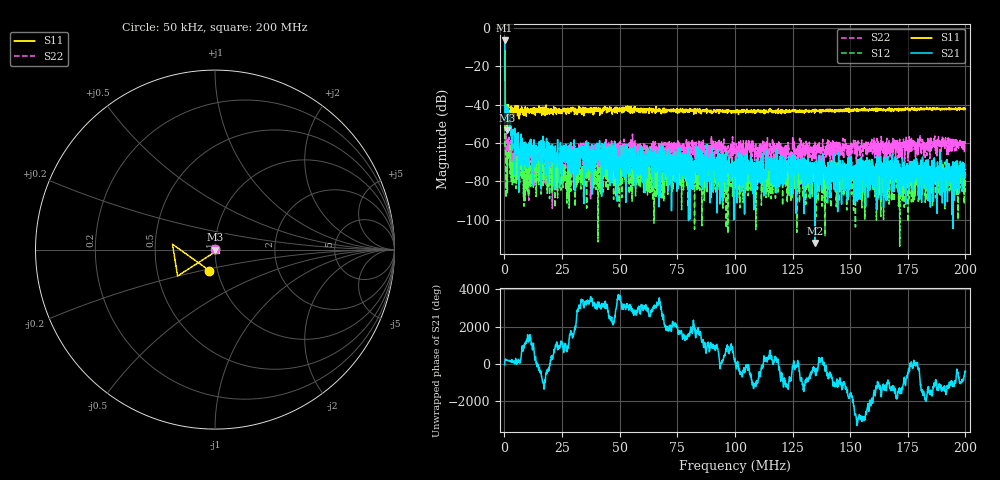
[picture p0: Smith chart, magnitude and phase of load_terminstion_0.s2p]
! 26-Feb-26 2:16:57 PM
! E:\VNA_MEASUREMENTS\HEATED_LOAD\LOAD_TERMINSTION_0.S2P
! CHANNEL.1
! TR.MEASUREMENT
! CORRECTED.DATA
# GHZ S RI R 50.0
! FREQ.GHZ  S11RE  S11IM  S21RE  S21IM  S12RE  S12IM  S22RE  S22IM
!; PortSelection: Port_12
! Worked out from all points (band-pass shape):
!   2000 points, 50 kHz to 200 MHz, reference 50 ohm
!   highest |S21| = -6.60 dB at 50 kHz (marker M1); lowest = -112.0 dB at 134.8 MHz (marker M2)
!   |S21| within 3 dB of the highest: start of sweep to 179 kHz
!   lowest |S11| = -53.4 dB at 1.25 MHz (marker M3), VSWR 1.00, Z = 50.2 + j0.0381 ohm
!   |S11| at or under -10 dB: start of sweep to end of sweep
!   |S22| runs from -94.1 to -46.5 dB; largest |S21 - S12| = 0.47
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5e-05  -0.0314 -0.1169  0.3361 -0.325  -0.00138 0.00453  -0.0018 0.00226
0.0012503  0.00211 0.00038  -0.00488 -0.00157  5.07e-05 5e-06  0.00084 0.000697
0.003550875  0.00544 -0.00173  -0.00121 0.00121  9.27e-05 -2.4e-05  0.000451 -0.000243
0.007151776  0.00773 -0.000191  0.000779 -0.0008  -9.45e-05 0.000178  0.000617 -2.07e-05
0.0104526  0.00635 0.000614  -0.000858 -0.000525  2.66e-05 -4.38e-05  -0.000105 -0.000276
0.02175543  0.00743 0.0015  0.000404 0.000294  -0.00014 -6.11e-05  0.000553 -0.0002
0.03345835  0.00748 -0.000314  -4.2e-05 0.000636  0.00014 5.26e-05  0.000353 0.000407
0.03715928  0.00684 -0.000921  -0.000242 3.15e-05  -0.000273 9.3e-05  0.000795 0.000239
0.03965991  0.00715 0.000837  8e-05 0.000681  -0.000147 8.78e-05  6.21e-05 0.000331
0.04906226  0.00675 -0.000644  -0.000191 -0.00016  4.91e-05 7.3e-06  0.000661 5.36e-05
0.05256313  0.00879 0.000297  0.000159 0.000108  1.99e-05 8.43e-05  0.000792 0.000131
0.05576393  0.00704 -0.000939  0.000443 0.000208  -0.000111 3.92e-05  0.000713 -0.000101
0.06676668  0.00726 0.000102  0.000404 -0.000177  2.89e-05 9.63e-05  0.000417 0.0003
0.100075  0.00608 -1.05e-05  -0.000149 1.72e-05  0.000118 -6.56e-05  0.00033 0.000356
0.1122781  0.00704 -0.000534  6.91e-05 -8.15e-05  -9.05e-05 6.48e-05  0.000522 0.000666
0.1143786  0.0066 5.02e-05  3.03e-05 -0.000224  0.000134 -0.000119  0.00043 8.84e-05
0.1191798  0.00668 -0.000302  0.000299 0.00018  -0.000203 -4.9e-06  0.000689 0.000711
0.1210803  0.00611 -0.000266  -0.000226 -0.000108  -8.99e-05 0.000196  0.000372 0.000518
0.1333833  0.00679 0.000278  0.000147 -0.00023  6.04e-05 -1.84e-05  0.000452 0.000714
0.1347837  0.00712 -0.000355  2.5e-06 3e-07  0.000141 -3.56e-05  0.000522 0.000959
0.1666917  0.00708 -0.000242  2.78e-05 6.81e-05  -9.56e-05 -5.14e-05  0.000606 0.000633
0.2  0.00778 0.000356  0.000122 -8.64e-05  0.000178 -0.000119  0.000477 0.00114
